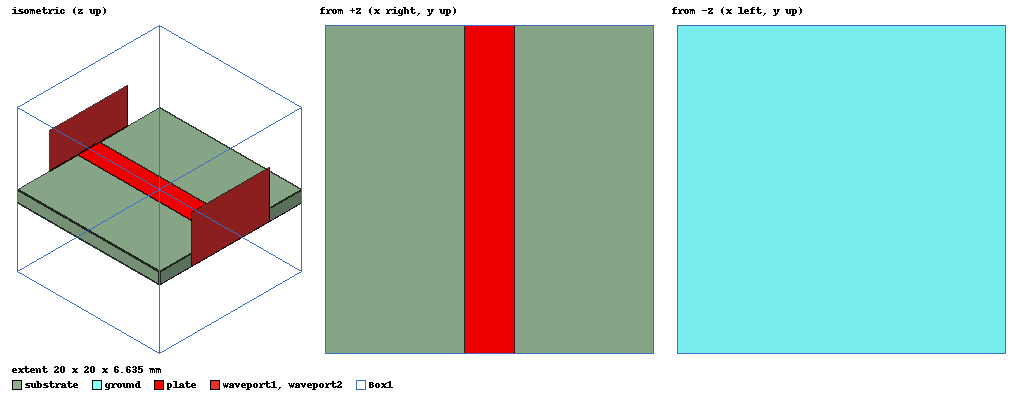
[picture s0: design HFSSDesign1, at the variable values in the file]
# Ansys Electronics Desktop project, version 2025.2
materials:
  vacuum: permittivity=1
  FR4_epoxy: permittivity=4.4 dielectric_loss_tangent=0.02
  copper: permeability=0.999991 conductivity=58000000
  air: permittivity=1.0006 permeability=1.0000004

design HFSSDesign1 (HFSS, HFSS Modal Network, model units mm)
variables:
  lx = 20mm
  ly = 20mm
  h = -1.6mm
  t = -0.035mm
  w = 3.06mm
  th = 0.035mm
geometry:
  substrate [FR4_epoxy] = box(corner=(-lx/2, 0mm, 0mm), size=(lx, ly, h))
  ground [copper] = box(corner=(-lx/2, 0mm, h), size=(lx, ly, -th))
  plate [copper] = box(corner=(-w/2, 0mm, 0mm), size=(w, ly, th))
  waveport1 = rectangle(corner=(-(w+8mm)/2, 0mm, h), z_size=-h+5mm, x_size=w+8mm)
  waveport2 = rectangle(corner=(-(w+8mm)/2, 20mm, h), z_size=-h+5mm, x_size=w+8mm)
  Box1 [air] = box(corner=(-10mm, 0mm, -10mm), size=(20mm, 20mm, 20mm))
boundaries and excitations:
  1: Wave Port Objects=waveport1 WavePortType=Default NumModes=1 Modes{Mode1{IntLine{(0, 0, -1.6) -> (0, 0, 5)} CharImp=Zpi RenormImp=50ohm}}
  2: Wave Port Objects=waveport2 WavePortType=Default NumModes=1 Modes{Mode1{IntLine{(0, 20, -1.6) -> (0, 20, 5)} CharImp=Zpi RenormImp=50ohm}}
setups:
  Setup1: HfssDriven Frequency=3GHz MaxDeltaS=0.02 MaximumPasses=6 MinimumPasses=1 MinimumConvergedPasses=1 PercentRefinement=30 BasisOrder=1 PortAccuracy=2 DrivenSolverType="Direct Solver"
    sweep Sweep: 1.5GHz to 6GHz, 401 points; Type=Interpolating InterpTolerance=0.5 InterpMaxSolns=250 InterpUsePortImped=false PassivityErrorTolerance=0.0001
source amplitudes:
  1:1: 1W 0deg
  2:1: 0W 0deg
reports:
  S Parameter Plot1: dB(S(1,1)), dB(S(2,1)) vs Freq on Setup1 : Sweep; markers MX1 at x=3.0071332e+09
